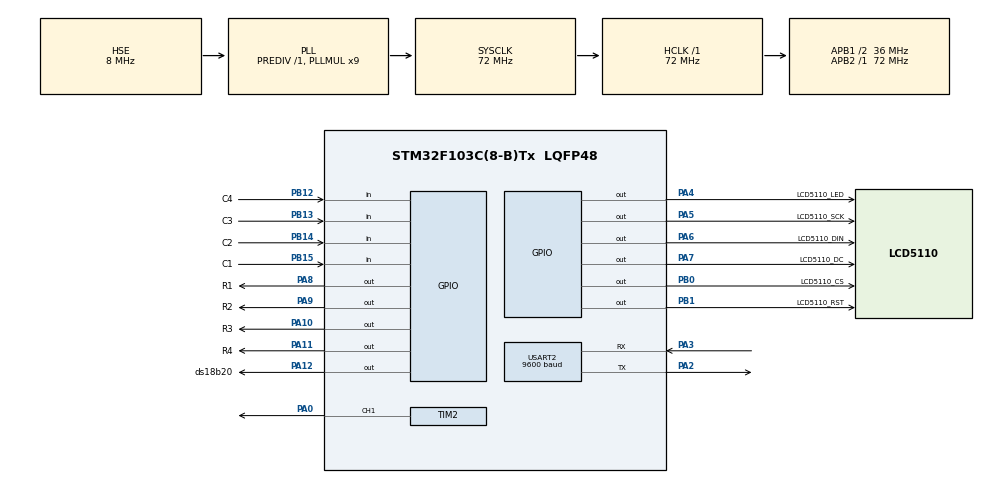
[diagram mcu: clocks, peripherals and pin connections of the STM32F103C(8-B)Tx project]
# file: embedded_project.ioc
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Dma.Request0=USART2_RX
Dma.USART2_RX.0.Direction=DMA_PERIPH_TO_MEMORY
Dma.USART2_RX.0.Instance=DMA1_Channel6
Dma.USART2_RX.0.MemDataAlignment=DMA_MDATAALIGN_BYTE
Dma.USART2_RX.0.MemInc=DMA_MINC_ENABLE
Dma.USART2_RX.0.Mode=DMA_NORMAL
Dma.USART2_RX.0.PeriphDataAlignment=DMA_PDATAALIGN_BYTE
Dma.USART2_RX.0.PeriphInc=DMA_PINC_DISABLE
Dma.USART2_RX.0.Priority=DMA_PRIORITY_LOW
FREERTOS.BinarySemaphores01=myBinarySem01,Dynamic,NULL
FREERTOS.CountingSemaphores01=myCountingSem01,3,Dynamic,NULL
FREERTOS.Tasks01=uartTask,0,128,StartUartTask,Default,NULL,Dynamic,NULL,NULL;ds18b20Task,1,128,StartDs18b20Task,Default,NULL,Dynamic,NULL,NULL;keypadTask,0,128,StartKeypadTask,Default,NULL,Dynamic,NULL,NULL;pwmTask,0,128,StartPwmTask,Default,NULL,Dynamic,NULL,NULL
FREERTOS.configUSE_COUNTING_SEMAPHORES=0
Mcu.Family=STM32F1
Mcu.Name=STM32F103C(8-B)Tx
Mcu.Package=LQFP48
NVIC.DMA1_Channel6_IRQn=true\:5\:0\:false\:false\:true\:true\:false\:true\:true
NVIC.PriorityGroup=NVIC_PRIORITYGROUP_4
NVIC.TIM1_UP_IRQn=true\:15\:0\:false\:false\:true\:false\:false\:true\:true
NVIC.TimeBase=TIM1_UP_IRQn
NVIC.TimeBaseIP=TIM1
PA0-WKUP.Signal=S_TIM2_CH1_ETR
PA10.GPIO_Label=R3
PA10.GPIO_PuPd=GPIO_PULLDOWN
PA10.Signal=GPIO_Output
PA11.GPIO_Label=R4
PA11.GPIO_PuPd=GPIO_PULLDOWN
PA11.Signal=GPIO_Output
PA12.GPIO_Label=ds18b20
PA12.Signal=GPIO_Output
PA13.Mode=Serial_Wire
PA13.Signal=SYS_JTMS-SWDIO
PA14.Mode=Serial_Wire
PA14.Signal=SYS_JTCK-SWCLK
PA2.Mode=Asynchronous
PA2.Signal=USART2_TX
PA3.Mode=Asynchronous
PA3.Signal=USART2_RX
PA4.GPIO_Label=LCD5110_LED
PA4.Signal=GPIO_Output
PA5.GPIO_Label=LCD5110_SCK
PA5.Signal=GPIO_Output
PA6.GPIO_Label=LCD5110_DIN
PA6.Signal=GPIO_Output
PA7.GPIO_Label=LCD5110_DC
PA7.Signal=GPIO_Output
PA8.GPIO_Label=R1
PA8.GPIO_PuPd=GPIO_PULLDOWN
PA8.Signal=GPIO_Output
PA9.GPIO_Label=R2
PA9.GPIO_PuPd=GPIO_PULLDOWN
PA9.Signal=GPIO_Output
PB0.GPIO_Label=LCD5110_CS
PB0.Signal=GPIO_Output
PB1.GPIO_Label=LCD5110_RST
PB1.Signal=GPIO_Output
PB12.GPIO_Label=C4
PB12.GPIO_PuPd=GPIO_PULLUP
PB12.Signal=GPIO_Input
PB13.GPIO_Label=C3
PB13.GPIO_PuPd=GPIO_PULLUP
PB13.Signal=GPIO_Input
PB14.GPIO_Label=C2
PB14.GPIO_PuPd=GPIO_PULLUP
PB14.Signal=GPIO_Input
PB15.GPIO_Label=C1
PB15.GPIO_PuPd=GPIO_PULLUP
PB15.Signal=GPIO_Input
PD0-OSC_IN.Mode=HSE-External-Oscillator
PD0-OSC_IN.Signal=RCC_OSC_IN
PD1-OSC_OUT.Mode=HSE-External-Oscillator
PD1-OSC_OUT.Signal=RCC_OSC_OUT
ProjectManager.HeapSize=0x200
ProjectManager.StackSize=0x400
ProjectManager.TargetToolchain=MDK-ARM V5
RCC.AHBFreq_Value=72000000
RCC.APB1CLKDivider=RCC_HCLK_DIV2
RCC.APB1Freq_Value=36000000
RCC.APB1TimFreq_Value=72000000
RCC.APB2Freq_Value=72000000
RCC.APB2TimFreq_Value=72000000
RCC.HCLKFreq_Value=72000000
RCC.PLLMUL=RCC_PLL_MUL9
RCC.PLLSourceVirtual=RCC_PLLSOURCE_HSE
RCC.SYSCLKFreq_VALUE=72000000
RCC.SYSCLKSource=RCC_SYSCLKSOURCE_PLLCLK
RCC.USBFreq_Value=72000000
SH.S_TIM2_CH1_ETR.0=TIM2_CH1,PWM Generation1 CH1
TIM2.Channel-PWM\ Generation1\ CH1=TIM_CHANNEL_1
TIM2.Period=99
TIM2.Prescaler=14400
TIM4.Prescaler=71
USART2.BaudRate=9600
USART2.VirtualMode=VM_ASYNC
VP_FREERTOS_VS_CMSIS_V1.Mode=CMSIS_V1
VP_SYS_VS_tim1.Mode=TIM1
VP_TIM2_VS_ClockSourceINT.Mode=Internal
VP_TIM4_VS_ClockSourceINT.Mode=Internal
board=custom

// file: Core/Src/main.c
/* USER CODE BEGIN Header */
/**
  ******************************************************************************
  * @file           : main.c
  * @brief          : Main program body
  ******************************************************************************
  * @attention
  *
  * Copyright (c) 2022 STMicroelectronics.
  * All rights reserved.
  *
  * This software is licensed under terms that can be found in the LICENSE file
  * in the root directory of this software component.
  * If no LICENSE file comes with this software, it is provided AS-IS.
  *
  ******************************************************************************
  */
/* USER CODE END Header */
#include "main.h"
#include "cmsis_os.h"

/* USER CODE BEGIN Includes */
#include "ds18b20.h"
#include "stdio.h"
#include "stdlib.h"
#include "string.h"
#include "5110.h"
#include "keypad4x4.h"
/* USER CODE END Includes */

/* USER CODE BEGIN PTD */
#define	tempMax		32
#define tempMin		28
uint8_t RxData;
int _Rx_Index = 0;
uint8_t RxCount = 0;
uint8_t PWM_Enable = 0;
uint8_t PWM_Source = 0;
char PWM_Rate[3] = {0, 0, 0};
char controlMotor[7] = {0, 0, 0, 0, 0, 0, 0};	//controlMotor[0] = Enable; controlMotor[1] = source; controlMotor[2,3,4] = rate
int Rx_Flag = 0;

char t[12];
char t1[2];
/* USER CODE END PTD */

/* USER CODE BEGIN PD */
void upDateLCD_Enable(char Enable); // cap nhat Enble
void upDateLCD_Source(char Source);//cap nhat Source

//char Read_keypad = 1;

unsigned char key;
char Keypad_Enable = 0;
char Keypad_Source = 0;

void LCD_PWM_Display();

/* USER CODE END PD */

 TIM_HandleTypeDef htim2;
TIM_HandleTypeDef htim4;

UART_HandleTypeDef huart2;
DMA_HandleTypeDef hdma_usart2_rx;

osThreadId uartTaskHandle;
osThreadId ds18b20TaskHandle;
osThreadId keypadTaskHandle;
osThreadId pwmTaskHandle;
osSemaphoreId myBinarySem01Handle;

void SystemClock_Config(void);
static void MX_GPIO_Init(void);
static void MX_USART2_UART_Init(void);
static void MX_DMA_Init(void);
static void MX_TIM2_Init(void);
static void MX_TIM4_Init(void);
void StartUartTask(void const * argument);
void StartDs18b20Task(void const * argument);
void StartKeypadTask(void const * argument);
void StartPwmTask(void const * argument);

/* USER CODE BEGIN 0 */
	ds18b20_name ds1;
	LCD5110_Time lcd1;
	float temp;
	void motor_control(float temp)
	{
		if(controlMotor[0] == 1)
		{
			float speed = temp;
			htim2.Instance-> CCR1 = speed;
		}
		else
		{
			htim2.Instance-> CCR1 = 0;
		}
	}

void HAL_UART_RxCpltCallback(UART_HandleTypeDef *huart)
{
 if(huart->Instance == huart2.Instance)
 {
		if(RxData == '*')
		{
			controlMotor[0] = 1;
			Rx_Flag = 1;
		}
		else if(RxData == '#')
		{
			controlMotor[0] = 0;
			Rx_Flag = 1;
		}
		else if(RxData == 'a'||RxData == 'A')
		{
			controlMotor[1] = 1;
			Rx_Flag = 1;
		}
		else if(RxData == 'b'||RxData == 'B')
		{
			controlMotor[1] = 0;
			Rx_Flag = 1;
		}
		else if(RxData >= '0' && RxData <= '9')
		{
			PWM_Source = 0;
			PWM_Rate[_Rx_Index++] = RxData;
		}
		else if(_Rx_Index > 0 && RxData == '%')
		{
			_Rx_Index = 0;
			controlMotor[2] = '\0';
			controlMotor[3] = '\0';
			controlMotor[4] = '\0';
			controlMotor[2] = PWM_Rate[0];
			controlMotor[3] = PWM_Rate[1];
			controlMotor[4] = PWM_Rate[2];
			Rx_Flag = 1;
			PWM_Rate[0] = '\0';
			PWM_Rate[1] = '\0';
			PWM_Rate[2] = '\0';
		}
		else
		{
			_Rx_Index = 0;
			RxCount = 0;
			PWM_Enable = 0;
			PWM_Source = 0;
			PWM_Rate[0] = '\0';
			PWM_Rate[1] = '\0';
			PWM_Rate[2] = '\0';
			Rx_Flag = 0;
		}
    HAL_UART_Receive_DMA(&huart2,&RxData,1);
 }
}

//-------------------------------------------------------------------------------------'
void check_KeyPad(char key)
{
	if(key == 'A')
	{
		osSemaphoreWait(myBinarySem01Handle,500);
		upDateLCD_Source(1);
		controlMotor[1] = 1;
		osSemaphoreRelease(myBinarySem01Handle);
	}
	else if (key == 'B')
	{
		osSemaphoreWait(myBinarySem01Handle,500);
		upDateLCD_Source(0);
		controlMotor[1] = 0;
		osSemaphoreRelease(myBinarySem01Handle);
	}
	else if (key == '*')
	{
		osSemaphoreWait(myBinarySem01Handle,500);
		upDateLCD_Enable(1);
		controlMotor[0] = 1;
		osSemaphoreRelease(myBinarySem01Handle);
	}
	else if (key == '#')
	{
		osSemaphoreWait(myBinarySem01Handle,500);
		upDateLCD_Enable(0);
		controlMotor[0] = 0;
		osSemaphoreRelease(myBinarySem01Handle);
	}
}

void upDateLCD_Enable(char Enable) // cap nhat Enble
{
	controlMotor[0] = Enable;
	LCD5110_set_XY(2,0);
	LCD5110_write_string("Enable:", 0);

	if(controlMotor[0] == 1)
	{
		LCD5110_set_XY(2,7);
		LCD5110_write_string("Yes", 0);
	}
	else
	{
		LCD5110_set_XY(2,7);
		LCD5110_write_string("No ", 0);
	}
}
void upDateLCD_Source(char Source)//cap nhat Source
{
	controlMotor[1] = Source;
	LCD5110_set_XY(1,0);
	LCD5110_write_string("Source:", 0);
	if(controlMotor[1] == 1)
	{
		LCD5110_set_XY(1,7);
		LCD5110_write_string("Sensor", 0);
	}
	else
	{
		LCD5110_set_XY(1,7);
		LCD5110_write_string("Uart  ", 0);
	}
}

void LCD_PWM_Display()
{
	LCD5110_clear();
	LCD5110_set_XY(3,0);
	LCD5110_write_string("Duty =  0 %",0);
	char buff[3];
	buff[0] = controlMotor[2];
	buff[1] = controlMotor[3];
	buff[2] = controlMotor[4];
	LCD5110_set_XY(2,0);
	LCD5110_write_string("Enable:", 0);
	if(controlMotor[0] == 1)
	{
		LCD5110_set_XY(2,7);
		LCD5110_write_string("Yes", 0);
	}
	else
	{
		LCD5110_set_XY(2,7);
		LCD5110_write_string("No ", 0);
	}
	LCD5110_set_XY(0,0);
	LCD5110_write_string(t, 0);

	LCD5110_set_XY(1,0);
	LCD5110_write_string("Source:", 0);
	if(controlMotor[1] == 1)
	{
		LCD5110_set_XY(1,7);
		LCD5110_write_string("Sensor", 0);
			LCD5110_set_XY(3,7);
			LCD5110_write_string(t1, 0);
			LCD5110_set_XY(3, 10);
			LCD5110_write_char('%');
			motor_control((100*(temp - tempMin)/(tempMax - tempMin)));
	}
	else
	{
		LCD5110_set_XY(1,7);
		LCD5110_write_string("Uart  ", 0);
		if(atoi(buff) > 100)
		{
			LCD5110_set_XY(3,7);
			LCD5110_write_string("100", 0);
			LCD5110_set_XY(3, 10);
			LCD5110_write_char('%');
			motor_control(100);
		}
		else
		{
			LCD5110_set_XY(3,7);
			LCD5110_write_string(buff, 0);
			LCD5110_set_XY(3, 10);
			LCD5110_write_char('%');
			motor_control(atoi(buff));
		}
	}
}

/* USER CODE END 0 */

int main(void)
{

  /* MCU Configuration--------------------------------------------------------*/

  /* Reset of all peripherals, Initializes the Flash interface and the Systick. */
  HAL_Init();

  /* Configure the system clock */
  SystemClock_Config();

  /* Initialize all configured peripherals */
  MX_GPIO_Init();
  MX_USART2_UART_Init();
  MX_DMA_Init();
  MX_TIM2_Init();
  MX_TIM4_Init();
  /* USER CODE BEGIN 2 */
	ds18b20_init(&ds1, &htim4, ds18b20_GPIO_Port, ds18b20_Pin);
	LCD5110_init(&lcd1, &htim4);
	LCD5110_clear();
	HAL_TIM_PWM_Start(&htim2, TIM_CHANNEL_1);
	HAL_UART_Receive_DMA(&huart2,&RxData,1);
  /* USER CODE END 2 */

  /* Create the semaphores(s) */
  /* definition and creation of myBinarySem01 */
  osSemaphoreDef(myBinarySem01);
  myBinarySem01Handle = osSemaphoreCreate(osSemaphore(myBinarySem01), 1);

  /* Create the thread(s) */
  /* definition and creation of uartTask */
  osThreadDef(uartTask, StartUartTask, osPriorityNormal, 0, 128);
  uartTaskHandle = osThreadCreate(osThread(uartTask), NULL);

  /* definition and creation of ds18b20Task */
  osThreadDef(ds18b20Task, StartDs18b20Task, osPriorityAboveNormal, 0, 128);
  ds18b20TaskHandle = osThreadCreate(osThread(ds18b20Task), NULL);

  /* definition and creation of keypadTask */
  osThreadDef(keypadTask, StartKeypadTask, osPriorityNormal, 0, 128);
  keypadTaskHandle = osThreadCreate(osThread(keypadTask), NULL);

  /* definition and creation of pwmTask */
  osThreadDef(pwmTask, StartPwmTask, osPriorityNormal, 0, 128);
  pwmTaskHandle = osThreadCreate(osThread(pwmTask), NULL);

  /* Start scheduler */
  osKernelStart();

  /* We should never get here as control is now taken by the scheduler */
  /* Infinite loop */
  while (1)
  {

  }
}

void SystemClock_Config(void)
{
  RCC_OscInitTypeDef RCC_OscInitStruct = {0};
  RCC_ClkInitTypeDef RCC_ClkInitStruct = {0};

  /** Initializes the RCC Oscillators according to the specified parameters
  * in the RCC_OscInitTypeDef structure.
  */
  RCC_OscInitStruct.OscillatorType = RCC_OSCILLATORTYPE_HSE;
  RCC_OscInitStruct.HSEState = RCC_HSE_ON;
  RCC_OscInitStruct.HSEPredivValue = RCC_HSE_PREDIV_DIV1;
  RCC_OscInitStruct.HSIState = RCC_HSI_ON;
  RCC_OscInitStruct.PLL.PLLState = RCC_PLL_ON;
  RCC_OscInitStruct.PLL.PLLSource = RCC_PLLSOURCE_HSE;
  RCC_OscInitStruct.PLL.PLLMUL = RCC_PLL_MUL9;
  if (HAL_RCC_OscConfig(&RCC_OscInitStruct) != HAL_OK)
  {
    Error_Handler();
  }

  /** Initializes the CPU, AHB and APB buses clocks
  */
  RCC_ClkInitStruct.ClockType = RCC_CLOCKTYPE_HCLK|RCC_CLOCKTYPE_SYSCLK
                              |RCC_CLOCKTYPE_PCLK1|RCC_CLOCKTYPE_PCLK2;
  RCC_ClkInitStruct.SYSCLKSource = RCC_SYSCLKSOURCE_PLLCLK;
  RCC_ClkInitStruct.AHBCLKDivider = RCC_SYSCLK_DIV1;
  RCC_ClkInitStruct.APB1CLKDivider = RCC_HCLK_DIV2;
  RCC_ClkInitStruct.APB2CLKDivider = RCC_HCLK_DIV1;

  if (HAL_RCC_ClockConfig(&RCC_ClkInitStruct, FLASH_LATENCY_2) != HAL_OK)
  {
    Error_Handler();
  }
}

static void MX_TIM2_Init(void)
{

  TIM_ClockConfigTypeDef sClockSourceConfig = {0};
  TIM_MasterConfigTypeDef sMasterConfig = {0};
  TIM_OC_InitTypeDef sConfigOC = {0};

  htim2.Instance = TIM2;
  htim2.Init.Prescaler = 14400;
  htim2.Init.CounterMode = TIM_COUNTERMODE_UP;
  htim2.Init.Period = 99;
  htim2.Init.ClockDivision = TIM_CLOCKDIVISION_DIV1;
  htim2.Init.AutoReloadPreload = TIM_AUTORELOAD_PRELOAD_DISABLE;
  if (HAL_TIM_Base_Init(&htim2) != HAL_OK)
  {
    Error_Handler();
  }
  sClockSourceConfig.ClockSource = TIM_CLOCKSOURCE_INTERNAL;
  if (HAL_TIM_ConfigClockSource(&htim2, &sClockSourceConfig) != HAL_OK)
  {
    Error_Handler();
  }
  if (HAL_TIM_PWM_Init(&htim2) != HAL_OK)
  {
    Error_Handler();
  }
  sMasterConfig.MasterOutputTrigger = TIM_TRGO_RESET;
  sMasterConfig.MasterSlaveMode = TIM_MASTERSLAVEMODE_DISABLE;
  if (HAL_TIMEx_MasterConfigSynchronization(&htim2, &sMasterConfig) != HAL_OK)
  {
    Error_Handler();
  }
  sConfigOC.OCMode = TIM_OCMODE_PWM1;
  sConfigOC.Pulse = 0;
  sConfigOC.OCPolarity = TIM_OCPOLARITY_HIGH;
  sConfigOC.OCFastMode = TIM_OCFAST_DISABLE;
  if (HAL_TIM_PWM_ConfigChannel(&htim2, &sConfigOC, TIM_CHANNEL_1) != HAL_OK)
  {
    Error_Handler();
  }
  HAL_TIM_MspPostInit(&htim2);

}

static void MX_TIM4_Init(void)
{

  TIM_ClockConfigTypeDef sClockSourceConfig = {0};
  TIM_MasterConfigTypeDef sMasterConfig = {0};

  htim4.Instance = TIM4;
  htim4.Init.Prescaler = 71;
  htim4.Init.CounterMode = TIM_COUNTERMODE_UP;
  htim4.Init.Period = 65535;
  htim4.Init.ClockDivision = TIM_CLOCKDIVISION_DIV1;
  htim4.Init.AutoReloadPreload = TIM_AUTORELOAD_PRELOAD_DISABLE;
  if (HAL_TIM_Base_Init(&htim4) != HAL_OK)
  {
    Error_Handler();
  }
  sClockSourceConfig.ClockSource = TIM_CLOCKSOURCE_INTERNAL;
  if (HAL_TIM_ConfigClockSource(&htim4, &sClockSourceConfig) != HAL_OK)
  {
    Error_Handler();
  }
  sMasterConfig.MasterOutputTrigger = TIM_TRGO_RESET;
  sMasterConfig.MasterSlaveMode = TIM_MASTERSLAVEMODE_DISABLE;
  if (HAL_TIMEx_MasterConfigSynchronization(&htim4, &sMasterConfig) != HAL_OK)
  {
    Error_Handler();
  }

}

static void MX_USART2_UART_Init(void)
{

  huart2.Instance = USART2;
  huart2.Init.BaudRate = 9600;
  huart2.Init.WordLength = UART_WORDLENGTH_8B;
  huart2.Init.StopBits = UART_STOPBITS_1;
  huart2.Init.Parity = UART_PARITY_NONE;
  huart2.Init.Mode = UART_MODE_TX_RX;
  huart2.Init.HwFlowCtl = UART_HWCONTROL_NONE;
  huart2.Init.OverSampling = UART_OVERSAMPLING_16;
  if (HAL_UART_Init(&huart2) != HAL_OK)
  {
    Error_Handler();
  }

}

static void MX_DMA_Init(void)
{

  /* DMA controller clock enable */
  __HAL_RCC_DMA1_CLK_ENABLE();

  /* DMA interrupt init */
  /* DMA1_Channel6_IRQn interrupt configuration */
  HAL_NVIC_SetPriority(DMA1_Channel6_IRQn, 5, 0);
  HAL_NVIC_EnableIRQ(DMA1_Channel6_IRQn);

}

static void MX_GPIO_Init(void)
{
  GPIO_InitTypeDef GPIO_InitStruct = {0};

  /* GPIO Ports Clock Enable */
  __HAL_RCC_GPIOD_CLK_ENABLE();
  __HAL_RCC_GPIOA_CLK_ENABLE();
  __HAL_RCC_GPIOB_CLK_ENABLE();

  /*Configure GPIO pin Output Level */
  HAL_GPIO_WritePin(GPIOA, LCD5110_LED_Pin|LCD5110_SCK_Pin|LCD5110_DIN_Pin|LCD5110_DC_Pin
                          |R1_Pin|R2_Pin|R3_Pin|R4_Pin
                          |ds18b20_Pin, GPIO_PIN_RESET);

  /*Configure GPIO pin Output Level */
  HAL_GPIO_WritePin(GPIOB, LCD5110_CS_Pin|LCD5110_RST_Pin, GPIO_PIN_RESET);

  /*Configure GPIO pins : LCD5110_LED_Pin LCD5110_SCK_Pin LCD5110_DIN_Pin LCD5110_DC_Pin
                           ds18b20_Pin */
  GPIO_InitStruct.Pin = LCD5110_LED_Pin|LCD5110_SCK_Pin|LCD5110_DIN_Pin|LCD5110_DC_Pin
                          |ds18b20_Pin;
  GPIO_InitStruct.Mode = GPIO_MODE_OUTPUT_PP;
  GPIO_InitStruct.Pull = GPIO_NOPULL;
  GPIO_InitStruct.Speed = GPIO_SPEED_FREQ_LOW;
  HAL_GPIO_Init(GPIOA, &GPIO_InitStruct);

  /*Configure GPIO pins : LCD5110_CS_Pin LCD5110_RST_Pin */
  GPIO_InitStruct.Pin = LCD5110_CS_Pin|LCD5110_RST_Pin;
  GPIO_InitStruct.Mode = GPIO_MODE_OUTPUT_PP;
  GPIO_InitStruct.Pull = GPIO_NOPULL;
  GPIO_InitStruct.Speed = GPIO_SPEED_FREQ_LOW;
  HAL_GPIO_Init(GPIOB, &GPIO_InitStruct);

  /*Configure GPIO pins : C4_Pin C3_Pin C2_Pin C1_Pin */
  GPIO_InitStruct.Pin = C4_Pin|C3_Pin|C2_Pin|C1_Pin;
  GPIO_InitStruct.Mode = GPIO_MODE_INPUT;
  GPIO_InitStruct.Pull = GPIO_PULLUP;
  HAL_GPIO_Init(GPIOB, &GPIO_InitStruct);

  /*Configure GPIO pins : R1_Pin R2_Pin R3_Pin R4_Pin */
  GPIO_InitStruct.Pin = R1_Pin|R2_Pin|R3_Pin|R4_Pin;
  GPIO_InitStruct.Mode = GPIO_MODE_OUTPUT_PP;
  GPIO_InitStruct.Pull = GPIO_PULLDOWN;
  GPIO_InitStruct.Speed = GPIO_SPEED_FREQ_LOW;
  HAL_GPIO_Init(GPIOA, &GPIO_InitStruct);

}

void StartUartTask(void const * argument)
{
  /* USER CODE BEGIN 5 */
  /* Infinite loop */
  for(;;)
  {

		if(Rx_Flag == 1)
		{
			osSemaphoreWait(myBinarySem01Handle,1000);
			LCD_PWM_Display();
			osSemaphoreRelease(myBinarySem01Handle);
			Rx_Flag = 0;
		}
	osDelay(2);
  }
  /* USER CODE END 5 */
}

void StartDs18b20Task(void const * argument)
{
  /* USER CODE BEGIN StartDs18b20Task */
  /* Infinite loop */

  for(;;)
  {
		temp = temperature(&ds1);
		if(temp == 0)
		{
			HAL_UART_Transmit(&huart2, (uint8_t *)"Sensor error!!!", 15, 300);
			HAL_UART_Transmit(&huart2, (uint8_t *)"\n", 1, 300);
		}
		else
		{
		sprintf(t, "T = %0.2f °C", temp);
		sprintf(t1, "%d", (int)(100*(temp - tempMin)/(tempMax - tempMin)));
		HAL_UART_Transmit(&huart2, (uint8_t *)t, sizeof(t), 300);
		HAL_UART_Transmit(&huart2, (uint8_t *)"\n", 1, 300);
		}
    osDelay(3000);
  }
  /* USER CODE END StartDs18b20Task */
}

void StartKeypadTask(void const * argument)
{
  /* USER CODE BEGIN StartKeypadTask */
  /* Infinite loop */
  for(;;)
  {
		key = read_keypad();
		if(key!= 0x01)
		{
			check_KeyPad(key);
		}
  }
  /* USER CODE END StartKeypadTask */
}

void StartPwmTask(void const * argument)
{
  /* USER CODE BEGIN StartPwmTask */
  /* Infinite loop */
  for(;;)
  {
		osSemaphoreWait(myBinarySem01Handle,1000);
    LCD_PWM_Display();
		osSemaphoreRelease(myBinarySem01Handle);
		osDelay(300);
  }
  /* USER CODE END StartPwmTask */
}

void HAL_TIM_PeriodElapsedCallback(TIM_HandleTypeDef *htim)
{
  if (htim->Instance == TIM1) {
    HAL_IncTick();
  }
}

void Error_Handler(void)
{
  __disable_irq();
  while (1)
  {
  }
}
